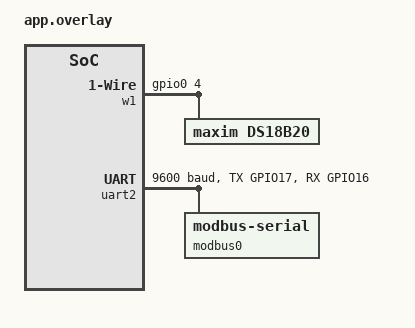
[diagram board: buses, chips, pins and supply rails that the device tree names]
#include <zephyr/dt-bindings/pinctrl/esp-pinctrl-common.h>
#include <zephyr/dt-bindings/pinctrl/esp32-pinctrl.h>
#include <zephyr/dt-bindings/gpio/gpio.h>

/* RS485 on UART2 - GPIO16 RX, GPIO17 TX */
&pinctrl {
	uart2_modbus: uart2_modbus {
		group1 {
			pinmux = <UART2_TX_GPIO17>;
			output-high;
		};

		group2 {
			pinmux = <UART2_RX_GPIO16>;
			bias-pull-up;
		};
	};
};

&uart2 {
	status = "okay";
	current-speed = <9600>;
	pinctrl-0 = <&uart2_modbus>;
	pinctrl-names = "default";

	modbus0 {
		compatible = "zephyr,modbus-serial";
		status = "okay";
	};
};

/ {
	w1: w1 {
		compatible = "zephyr,w1-gpio";
		gpios = <&gpio0 4 (GPIO_ACTIVE_HIGH | GPIO_OPEN_DRAIN | GPIO_PULL_UP)>;
		#address-cells = <1>;
		#size-cells = <0>;
		status = "okay";

		ds18b20: ds18b20 {
			compatible = "maxim,ds18b20";
			family-code = <0x28>;
			resolution = <12>;
			status = "okay";
		};
	};
};
